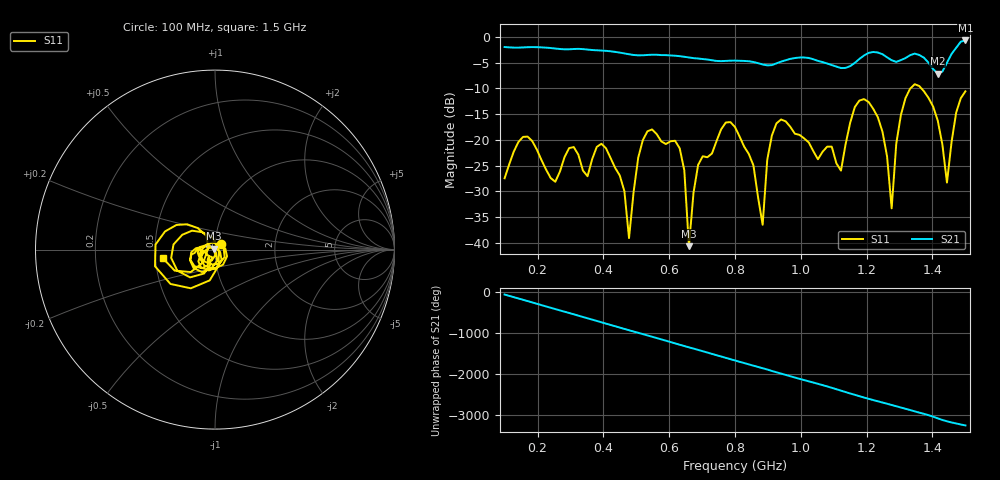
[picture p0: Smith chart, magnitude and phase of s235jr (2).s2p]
! NanoVNA-App
! Date: 2025-09-25 15:04:10
! Start: 100MHz Stop: 1,5GHz Points: 101
! S-Parameter data: F S11 S21 S12 S22
# Hz S RI R 50
!  Frequency  S11_Real  S11_Imag  S21_Real  S21_Imag  S12_Real  S12_Imag  S22_Real  S22_Imag
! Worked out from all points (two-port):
!   101 points, 100 MHz to 1.5 GHz, reference 50 ohm
!   highest |S21| = -0.69 dB at 1.5 GHz (marker M1); lowest = -7.1 dB at 1.416 GHz (marker M2)
!   |S21| within 3 dB of the highest: start of sweep to 623.3 MHz; 1.19 GHz to 1.256 GHz (65.26 MHz wide, 5.34 % of centre) (the widest 2 of 4)
!   lowest |S11| = -40.7 dB at 660 MHz (marker M3), VSWR 1.02, Z = 49.3 + j0.543 ohm
!   |S11| at or under -10 dB: start of sweep to 1.333 GHz; 1.366 GHz to end of sweep
!   S12 and S22 are empty: the file has one direction only
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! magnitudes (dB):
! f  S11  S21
! 100 MHz  -27.5  -2.0
! 156 MHz  -19.4  -2.0
! 338 MHz  -26.0  -2.4
! 408 MHz  -21.6  -2.7
! 478 MHz  -39.1  -3.4
! 520 MHz  -20.1  -3.6
! 576 MHz  -20.3  -3.5
! 632 MHz  -21.7  -3.7
! 660 MHz  -40.7  -4.0
! 688 MHz  -24.9  -4.2
! 800 MHz  -17.5  -4.6
! 884 MHz  -36.5  -5.4
! 926 MHz  -16.8  -5.1
! 1.038 GHz  -22.2  -4.4
! 1.122 GHz  -26.0  -6.1
! 1.206 GHz  -12.7  -3.1
! 1.276 GHz  -33.3  -4.5
! 1.29 GHz  -20.7  -4.9
! 1.332 GHz  -10.1  -3.6
! 1.416 GHz  -16.3  -7.1
! 1.444 GHz  -28.3  -5.0
! 1.5 GHz  -10.6  -0.7
